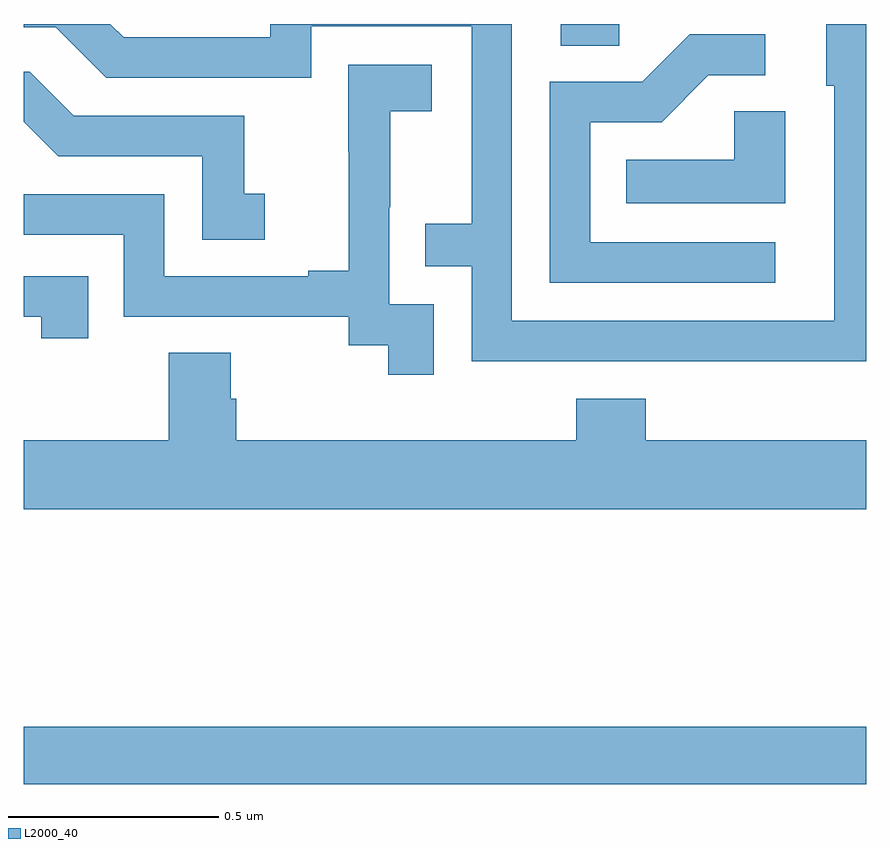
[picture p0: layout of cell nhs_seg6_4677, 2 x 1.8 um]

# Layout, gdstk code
import gdstk
lib = gdstk.Library(unit=1e-6, precision=1e-09)
def R(c, l, rs):  # rectangles x0, y0, x1, y1
    for r in rs: c.add(gdstk.rectangle(r[:2], r[2:], *l))
def P(c, l, *ps):  # polygons
    for p in ps: c.add(gdstk.Polygon(p, *l))
L2000_40 = (2000, 40)

nhs_seg6_4677 = lib.new_cell('nhs_seg6_4677')
R(nhs_seg6_4677, L2000_40, [(173,934.696,175,934.832), (174.275,936.448,174.414,936.5)])
P(nhs_seg6_4677, L2000_40, [(175,936.499),(174.905,936.499),(174.905,936.354),(174.924,936.354),(174.924,935.796),(174.159,935.796),(174.159,936.5),(173.585,936.5),(173.585,936.468),(173.238,936.468),(173.206,936.5),(173,936.5),(173,936.492),(173.076,936.492),(173.196,936.372),(173.682,936.372),(173.682,936.495),(174.063,936.495),(174.063,936.026),(173.953,936.026),(173.953,935.925),(174.063,935.925),(174.063,935.7),(174.559,935.7),(174.559,935.699),(175,935.699)],
  [(174.784,935.982),(174.345,935.982),(174.345,936.267),(174.514,936.267),(174.625,936.378),(174.76,936.378),(174.76,936.476),(174.581,936.476),(174.468,936.363),(174.249,936.363),(174.249,935.886),(174.784,935.886)],
  [(173.973,935.835),(173.868,935.835),(173.868,936.065),(173.87,936.065),(173.87,936.293),(173.968,936.293),(173.968,936.403),(173.77,936.403),(173.77,936.197),(173.771,936.197),(173.771,935.914),(173.675,935.914),(173.675,935.901),(173.334,935.901),(173.334,936.096),(173,936.096),(173,936),(173.238,936),(173.238,935.805),(173.772,935.805),(173.772,935.737),(173.865,935.737),(173.865,935.667),(173.973,935.667)],
  [(173.572,936.097),(173.523,936.097),(173.523,936.282),(173.119,936.282),(173.014,936.387),(173,936.387),(173,936.268),(173.082,936.186),(173.424,936.186),(173.424,935.988),(173.572,935.988)],
  [(174.808,936.293),(174.687,936.293),(174.687,936.178),(174.43,936.178),(174.43,936.074),(174.808,936.074)],
  [(173.153,935.901),(173,935.901),(173,935.805),(173.042,935.805),(173.042,935.754),(173.153,935.754)],
  [(175,935.512),(174.476,935.512),(174.476,935.611),(174.311,935.611),(174.311,935.512),(173.504,935.512),(173.504,935.61),(173.491,935.61),(173.491,935.72),(173.344,935.72),(173.344,935.512),(173,935.512),(173,935.348),(175,935.348)])

lib.write_gds('nhs_seg6_4677.gds')
